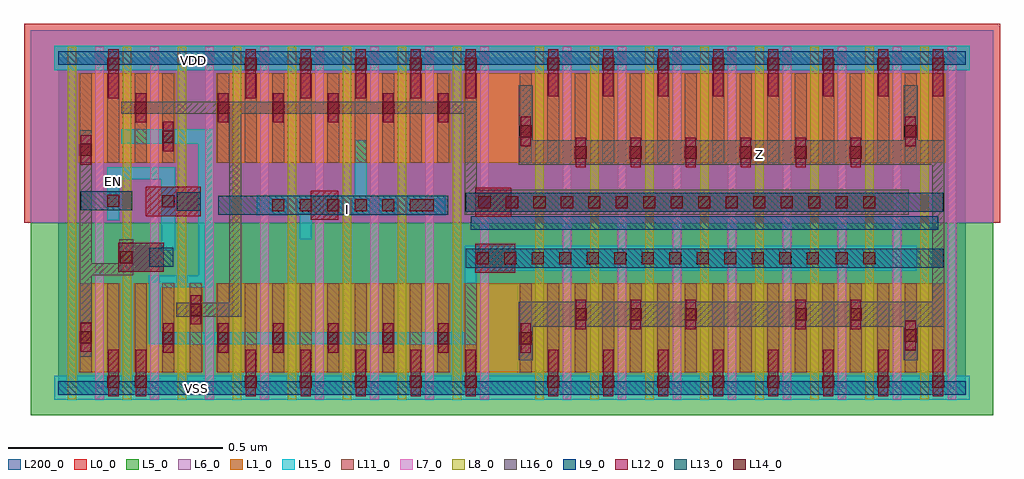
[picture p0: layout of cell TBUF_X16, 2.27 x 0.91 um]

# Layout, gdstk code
import gdstk
lib = gdstk.Library(unit=1e-6, precision=1e-09)
def R(c, l, rs):  # rectangles x0, y0, x1, y1
    for r in rs: c.add(gdstk.rectangle(r[:2], r[2:], *l))
def A(c, l, x, y, w, h, nx, ny, dx, dy):  # array of equal rectangles
    R(c, l, [(x+i*dx, y+j*dy, x+i*dx+w, y+j*dy+h) for i in range(nx) for j in range(ny)])
def P(c, l, *ps):  # polygons
    for p in ps: c.add(gdstk.Polygon(p, *l))
L0_0 = (0, 0)
L1_0 = (1, 0)
L5_0 = (5, 0)
L6_0 = (6, 0)
L7_0 = (7, 0)
L8_0 = (8, 0)
L9_0 = (9, 0)
L11_0 = (11, 0)
L12_0 = (12, 0)
L13_0 = (13, 0)
L14_0 = (14, 0)
L15_0 = (15, 0)
L16_0 = (16, 0)
L200_0 = (200, 0)

tbuf_x16 = lib.new_cell('TBUF_X16')
R(tbuf_x16, L0_0, [(-0.08,0.384,2.192,0.848)])
R(tbuf_x16, L1_0, [(0.048,0.036,0.144,0.244), (0.176,0.036,0.336,0.244), (0.368,0.036,0.912,0.244), (0.944,0.036,2.064,0.244), (0.048,0.524,0.272,0.732), (0.368,0.524,0.912,0.732), (0.944,0.524,2.064,0.732)])
R(tbuf_x16, L5_0, [(-0.064,-0.064,2.176,0.384)])
R(tbuf_x16, L6_0, [(-0.064,0.384,2.176,0.832)])
A(tbuf_x16, L7_0, 0.086, -0.026, 0.02, 0.82, 8, 1, 0.128, 0)
A(tbuf_x16, L7_0, 1.174, -0.026, 0.02, 0.82, 8, 1, 0.128, 0)
A(tbuf_x16, L8_0, 0.022, -0.026, 0.02, 0.82, 8, 1, 0.128, 0)
A(tbuf_x16, L8_0, 1.11, -0.026, 0.02, 0.82, 8, 1, 0.128, 0)
R(tbuf_x16, L9_0, [(0,-0.016,2.112,0.016), (0.96,0.368,2.048,0.4), (0,0.752,2.112,0.784)])
A(tbuf_x16, L11_0, 0.05, 0.036, 0.028, 0.208, 15, 1, 0.064, 0)
A(tbuf_x16, L11_0, 1.074, 0.036, 0.028, 0.208, 16, 2, 0.064, 0.488)
A(tbuf_x16, L11_0, 0.05, 0.524, 0.028, 0.208, 4, 1, 0.064, 0)
A(tbuf_x16, L11_0, 0.37, 0.524, 0.028, 0.208, 10, 1, 0.064, 0)
A(tbuf_x16, L12_0, 0.436, -0.02, 0.024, 0.109, 5, 1, 0.128, 0)
A(tbuf_x16, L12_0, 1.14, -0.02, 0.024, 0.109, 8, 2, 0.128, 0.699)
A(tbuf_x16, L12_0, 0.244, 0.082, 0.024, 0.068, 6, 1, 0.128, 0)
A(tbuf_x16, L12_0, 1.204, 0.137, 0.024, 0.068, 3, 1, 0.128, 0)
A(tbuf_x16, L12_0, 1.204, 0.514, 0.024, 0.068, 6, 1, 0.128, 0)
A(tbuf_x16, L12_0, 0.372, 0.618, 0.024, 0.068, 5, 1, 0.128, 0)
A(tbuf_x16, L12_0, 0.436, 0.674, 0.024, 0.114, 5, 1, 0.128, 0)
R(tbuf_x16, L12_0, [(0.116,-0.02,0.14,0.089), (0.18,-0.02,0.204,0.089), (1.076,0.082,1.1,0.15), (0.052,0.084,0.076,0.152), (1.972,0.088,1.996,0.156), (1.716,0.137,1.74,0.205), (1.844,0.137,1.868,0.205), (0.308,0.148,0.332,0.216), (0.971,0.268,1.064,0.336), (0.139,0.27,0.245,0.338), (0.588,0.391,0.652,0.459), (0.971,0.398,1.054,0.466), (0.203,0.4,0.332,0.468), (0.052,0.52,0.076,0.588), (0.244,0.551,0.268,0.619), (1.076,0.563,1.1,0.631), (1.972,0.563,1.996,0.631), (0.18,0.618,0.204,0.686), (0.116,0.674,0.14,0.788)])
R(tbuf_x16, L13_0, [(0.948,0.28,2.06,0.324), (0.212,0.282,0.268,0.326), (0.372,0.403,0.908,0.447), (0.948,0.41,2.06,0.454), (0.276,0.412,0.332,0.456), (0.052,0.414,0.172,0.458)])
A(tbuf_x16, L14_0, 0.434, 0, 0.028, 0.028, 5, 2, 0.128, 0.74)
A(tbuf_x16, L14_0, 1.138, 0, 0.028, 0.028, 8, 2, 0.128, 0.74)
A(tbuf_x16, L14_0, 0.242, 0.102, 0.028, 0.028, 6, 1, 0.128, 0)
A(tbuf_x16, L14_0, 1.202, 0.157, 0.028, 0.028, 3, 1, 0.128, 0)
A(tbuf_x16, L14_0, 0.974, 0.288, 0.028, 0.028, 13, 1, 0.064, 0)
A(tbuf_x16, L14_0, 0.498, 0.411, 0.028, 0.028, 5, 1, 0.064, 0)
A(tbuf_x16, L14_0, 0.978, 0.418, 0.028, 0.028, 15, 1, 0.064, 0)
A(tbuf_x16, L14_0, 1.202, 0.534, 0.028, 0.028, 6, 1, 0.128, 0)
A(tbuf_x16, L14_0, 0.37, 0.638, 0.028, 0.028, 5, 1, 0.128, 0)
R(tbuf_x16, L14_0, [(0.114,0,0.142,0.028), (0.178,0,0.206,0.028), (1.074,0.102,1.102,0.13), (0.05,0.104,0.078,0.132), (1.97,0.108,1.998,0.136), (1.714,0.157,1.742,0.185), (1.842,0.157,1.87,0.185), (0.306,0.168,0.334,0.196), (1.81,0.288,1.838,0.316), (1.874,0.288,1.902,0.316), (0.144,0.29,0.172,0.318), (0.818,0.411,0.874,0.439), (0.242,0.42,0.27,0.448), (0.114,0.422,0.142,0.45), (0.05,0.54,0.078,0.568), (0.242,0.571,0.27,0.599), (1.074,0.583,1.102,0.611), (1.97,0.583,1.998,0.611), (0.178,0.638,0.206,0.666), (0.114,0.74,0.142,0.768)])
R(tbuf_x16, L15_0, [(-0.01,-0.028,2.122,0.028), (-0.01,0.74,2.122,0.796)])
P(tbuf_x16, L15_0, [(0.114,0.39),(0.142,0.39),(0.142,0.486),(0.24,0.486),(0.24,0.32),(0.272,0.32),(0.272,0.514),(0.114,0.514)],
  [(0.462,0.402),(0.562,0.402),(0.562,0.346),(0.59,0.346),(0.59,0.402),(0.902,0.402),(0.902,0.448),(0.718,0.448),(0.718,0.576),(0.69,0.576),(0.69,0.448),(0.462,0.448)],
  [(0.146,0.568),(0.326,0.568),(0.326,0.262),(0.21,0.262),(0.21,0.102),(0.974,0.102),(0.974,0.273),(1.998,0.273),(1.998,0.331),(0.946,0.331),(0.946,0.13),(0.238,0.13),(0.238,0.234),(0.362,0.234),(0.362,0.602),(0.146,0.602)])
P(tbuf_x16, L16_0, [(0.05,0.072),(0.078,0.072),(0.078,0.262),(0.174,0.262),(0.174,0.346),(0.142,0.346),(0.142,0.29),(0.078,0.29),(0.078,0.6),(0.05,0.6)],
  [(0.146,0.638),(0.398,0.638),(0.398,0.198),(0.274,0.198),(0.274,0.166),(0.426,0.166),(0.426,0.638),(0.946,0.638),(0.946,0.403),(1.98,0.403),(1.98,0.461),(0.974,0.461),(0.974,0.666),(0.146,0.666)],
  [(1.072,0.52),(2.034,0.52),(2.034,0.2),(1.072,0.2),(1.072,0.064),(1.104,0.064),(1.104,0.142),(1.968,0.142),(1.968,0.064),(2,0.064),(2,0.142),(2.062,0.142),(2.062,0.576),(2,0.576),(2,0.704),(1.968,0.704),(1.968,0.576),(1.104,0.576),(1.104,0.704),(1.072,0.704)])
R(tbuf_x16, L200_0, [(0,0,2.112,0.768)])
tbuf_x16.add(gdstk.Label('VSS', (0.322,-0.001), layer=15, texttype=20))
tbuf_x16.add(gdstk.Label('EN', (0.128,0.48), layer=15, texttype=20))
tbuf_x16.add(gdstk.Label('I', (0.672,0.416), layer=15, texttype=20))
tbuf_x16.add(gdstk.Label('VDD', (0.314,0.762), layer=15, texttype=20))
tbuf_x16.add(gdstk.Label('Z', (1.632,0.544), layer=16, texttype=20))

lib.write_gds('TBUF_X16.gds')
